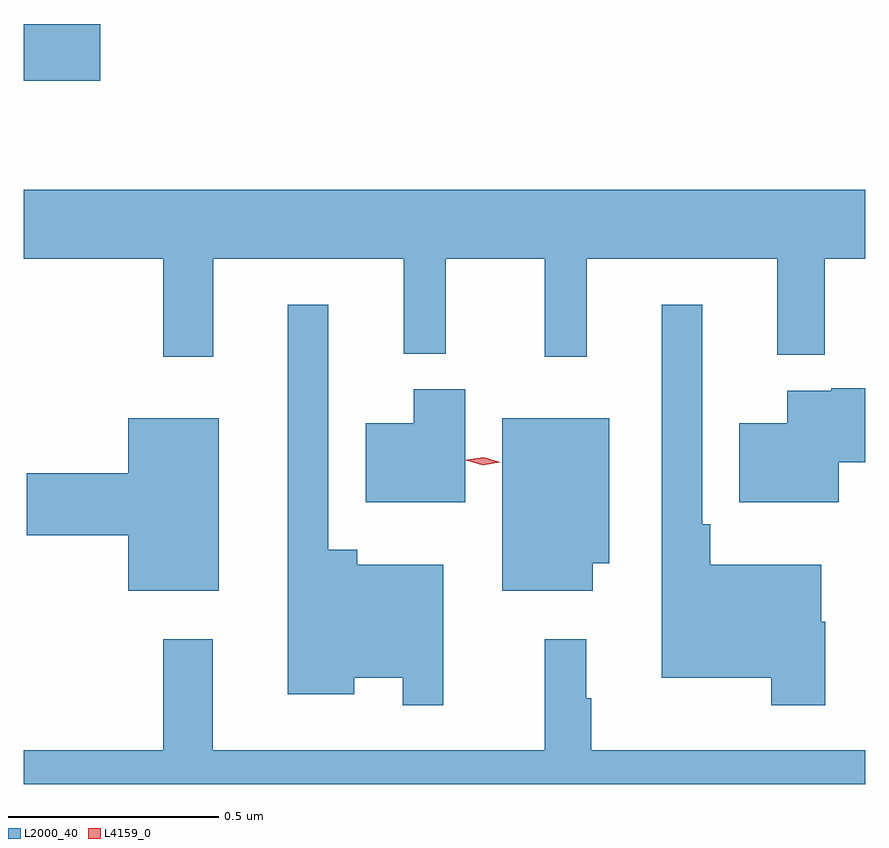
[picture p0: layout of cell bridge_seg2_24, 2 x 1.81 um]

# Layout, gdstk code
import gdstk
lib = gdstk.Library(unit=1e-6, precision=1e-09)
def R(c, l, rs):  # rectangles x0, y0, x1, y1
    for r in rs: c.add(gdstk.rectangle(r[:2], r[2:], *l))
def P(c, l, *ps):  # polygons
    for p in ps: c.add(gdstk.Polygon(p, *l))
L2000_40 = (2000, 40)
L4159_0 = (4159, 0)

bridge_seg2_24 = lib.new_cell('bridge_seg2_24')
R(bridge_seg2_24, L2000_40, [(671.489,662.711,671.671,662.846)])
P(bridge_seg2_24, L2000_40, [(671.939,662.288),(672.392,662.288),(672.392,662.063),(672.492,662.063),(672.492,662.288),(672.727,662.288),(672.727,662.055),(672.827,662.055),(672.827,662.288),(673.28,662.288),(673.28,662.06),(673.393,662.06),(673.393,662.288),(673.489,662.288),(673.489,662.452),(671.489,662.452),(671.489,662.288),(671.821,662.288),(671.821,662.055),(671.939,662.055)],
  [(673.394,661.425),(673.384,661.425),(673.384,661.561),(673.121,661.561),(673.121,661.657),(673.101,661.657),(673.101,662.179),(673.005,662.179),(673.005,661.292),(673.266,661.292),(673.266,661.227),(673.394,661.227)],
  [(672.486,661.561),(672.282,661.561),(672.282,661.597),(672.213,661.597),(672.213,662.179),(672.116,662.179),(672.116,661.253),(672.274,661.253),(672.274,661.292),(672.39,661.292),(672.39,661.227),(672.486,661.227)],
  [(673.426,661.805),(673.489,661.805),(673.489,661.98),(673.408,661.98),(673.408,661.975),(673.304,661.975),(673.304,661.897),(673.19,661.897),(673.19,661.709),(673.426,661.709)],
  [(672.538,661.978),(672.416,661.978),(672.416,661.897),(672.302,661.897),(672.302,661.709),(672.538,661.709)],
  [(671.953,661.909),(671.738,661.909),(671.738,661.778),(671.496,661.778),(671.496,661.631),(671.738,661.631),(671.738,661.499),(671.953,661.499)],
  [(672.841,661.565),(672.88,661.565),(672.88,661.909),(672.626,661.909),(672.626,661.499),(672.841,661.499)],
  [(673.489,661.12),(672.838,661.12),(672.838,661.244),(672.826,661.244),(672.826,661.384),(672.727,661.384),(672.727,661.12),(671.938,661.12),(671.938,661.384),(671.821,661.384),(671.821,661.12),(671.489,661.12),(671.489,661.04),(673.489,661.04)])
P(bridge_seg2_24, L4159_0, [(672.58,661.797),(672.541,661.809),(672.541,661.809),(672.541,661.81),(672.582,661.817),(672.621,661.804),(672.621,661.804),(672.621,661.804)])

lib.write_gds('bridge_seg2_24.gds')
